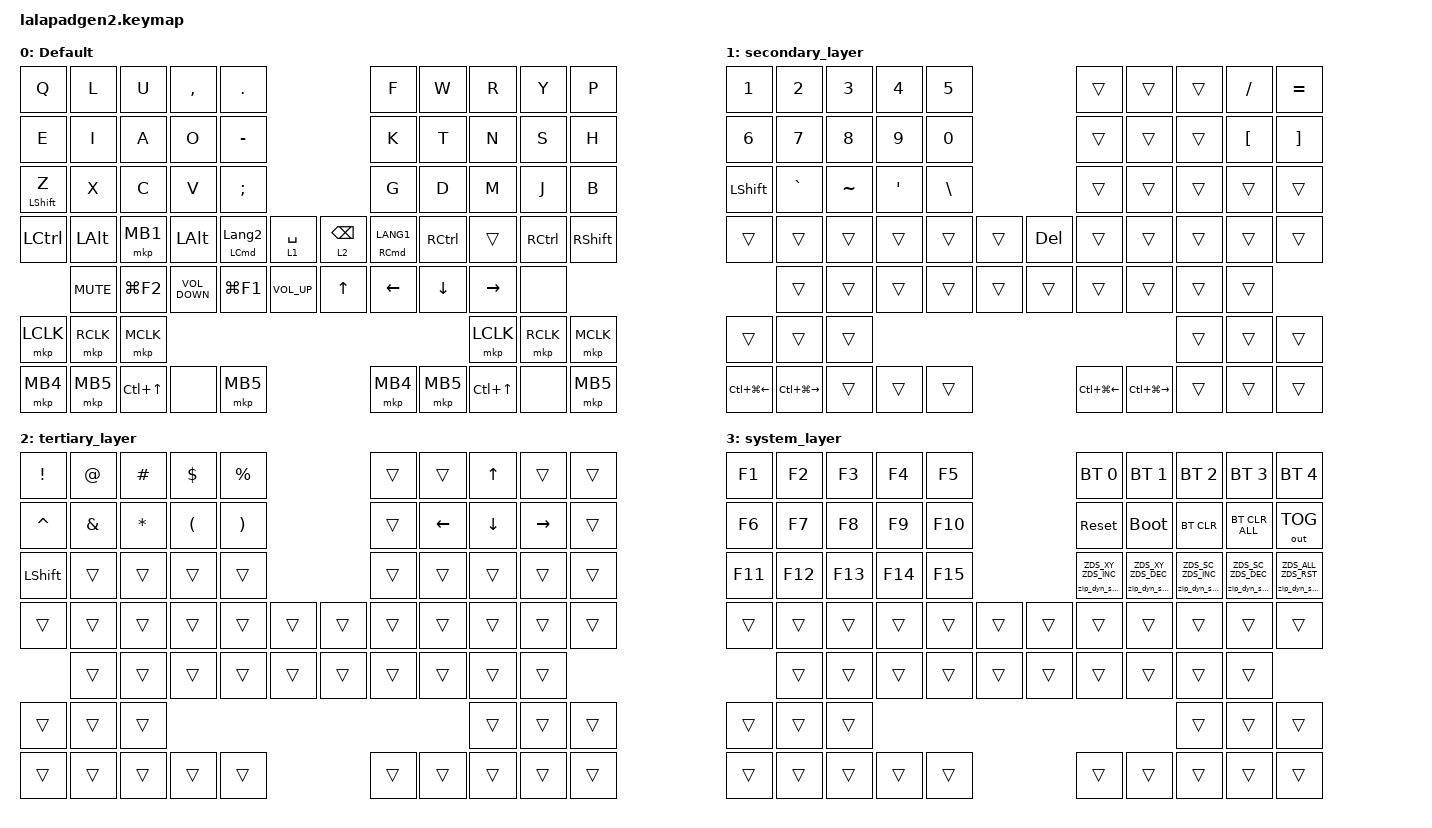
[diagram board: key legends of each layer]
#include <input/processors.dtsi>
#include <dt-bindings/zmk/zip_dynamic_scale.h>
#include <behaviors.dtsi>
#include <dt-bindings/zmk/bt.h>
#include <dt-bindings/zmk/keys.h>
#include <dt-bindings/zmk/outputs.h>
#include <dt-bindings/zmk/pointing.h>

#define DEFAULT_LAYER   0
#define SECONDARY_LAYER 1
#define TERTIARY_LAYER  2
#define SYSTEM_LAYER    3

&mt { quick-tap-ms = <200>; };

&lt { quick-tap-ms = <200>; };

/ {
    behaviors {
        zip_dyn_scale: zip_dyn_scale {
            compatible = "zmk,behavior-zip-dynamic-scale";
            #binding-cells = <2>;
        };

        zip_dyn_scale_set: zip_dyn_scale_set {
            compatible = "zmk,behavior-zip-dynamic-scale-set";
            #binding-cells = <2>;
        };

        mt2: mod_tap2 {
            compatible = "zmk,behavior-hold-tap";
            #binding-cells = <2>;
            flavor = "tap-preferred";
            tapping-term-ms = <200>;
            quick-tap-ms = <200>;
            require-prior-idle-ms = <125>;
            bindings = <&kp>, <&kp>;
        };

        tap_dance_layer_1and2: tap_dance_layer_1and2 {
            compatible = "zmk,behavior-tap-dance";
            label = "td_mo12";
            #binding-cells = <0>;
            bindings = <&mo 1>, <&mo 2>;
        };
    };

    combos {
        compatible = "zmk,combos";

        CONBO_ESC {
            bindings = <&kp ESCAPE>;
            key-positions = <0 1>;
        };

        COMBO_TAB {
            bindings = <&kp TAB>;
            key-positions = <10 11>;
        };

        COMBO_ENTER {
            bindings = <&kp ENTER>;
            key-positions = <36 37>;
        };
    };

    keymap {
        compatible = "zmk,keymap";

        DEFAULT_LAYER {
            display-name = "Default";
            bindings = <
&kp Q             &kp L         &kp U             &kp COMMA          &kp PERIOD                                                     &kp F                    &kp W              &kp R             &kp Y      &kp P
&kp E             &kp I         &kp A             &kp O              &kp MINUS                                                      &kp K                    &kp T              &kp N             &kp S      &kp H
&mt LEFT_SHIFT Z  &kp X         &kp C             &kp V              &kp SEMICOLON                                                  &kp G                    &kp D              &kp M             &kp J      &kp B
&kp LCTRL         &kp LEFT_ALT  &mkp MB1          &kp LEFT_ALT       &mt LEFT_COMMAND LANGUAGE_2  &lt 1 SPACE      &lt 2 BACKSPACE  &mt RIGHT_COMMAND LANG1  &kp RIGHT_CONTROL  &trans            &kp RCTRL  &kp RIGHT_SHIFT
                  &kp K_MUTE    &kp LG(F2)        &kp C_VOLUME_DOWN  &kp LG(F1)                   &kp C_VOLUME_UP  &kp UP           &kp LEFT                 &kp DOWN           &kp RIGHT         &none
&mkp LCLK         &mkp RCLK     &mkp MCLK                                                                                                                                       &mkp LCLK         &mkp RCLK  &mkp MCLK
&mkp MB4          &mkp MB5      &kp LC(UP_ARROW)  &none              &mkp MB5                                                       &mkp MB4                 &mkp MB5           &kp LC(UP_ARROW)  &none      &mkp MB5
            >;
        };

        SECONDARY_LAYER {
            display-name = "secondary_layer";
            bindings = <
&kp NUMBER_1      &kp NUMBER_2       &kp NUMBER_3  &kp NUMBER_4  &kp NUMBER_5                    &trans            &trans             &trans  &kp SLASH         &kp EQUAL
&kp NUMBER_6      &kp NUMBER_7       &kp NUMBER_8  &kp NUMBER_9  &kp NUMBER_0                    &trans            &trans             &trans  &kp LEFT_BRACKET  &kp RIGHT_BRACKET
&kp LEFT_SHIFT    &kp GRAVE          &kp TILDE     &kp SQT       &kp BACKSLASH                   &trans            &trans             &trans  &trans            &trans
&trans            &trans             &trans        &trans        &trans         &trans  &kp DEL  &trans            &trans             &trans  &trans            &trans
                  &trans             &trans        &trans        &trans         &trans  &trans   &trans            &trans             &trans  &trans
&trans            &trans             &trans                                                                                           &trans  &trans            &trans
&kp LC(LG(LEFT))  &kp LC(LG(RIGHT))  &trans        &trans        &trans                          &kp LC(LG(LEFT))  &kp LC(LG(RIGHT))  &trans  &trans            &trans
            >;
        };

        TERTIARY_LAYER {
            display-name = "tertiary_layer";
            bindings = <
&kp EXCLAMATION  &kp AT_SIGN    &kp HASH      &kp DOLLAR            &kp PERCENT                            &trans  &trans    &kp UP_ARROW    &trans     &trans
&kp CARET        &kp AMPERSAND  &kp ASTERISK  &kp LEFT_PARENTHESIS  &kp RIGHT_PARENTHESIS                  &trans  &kp LEFT  &kp DOWN_ARROW  &kp RIGHT  &trans
&kp LEFT_SHIFT   &trans         &trans        &trans                &trans                                 &trans  &trans    &trans          &trans     &trans
&trans           &trans         &trans        &trans                &trans                 &trans  &trans  &trans  &trans    &trans          &trans     &trans
                 &trans         &trans        &trans                &trans                 &trans  &trans  &trans  &trans    &trans          &trans
&trans           &trans         &trans                                                                                       &trans          &trans     &trans
&trans           &trans         &trans        &trans                &trans                                 &trans  &trans    &trans          &trans     &trans
            >;
        };

        SYSTEM_LAYER {
            display-name = "system_layer";
            bindings = <
&kp F1   &kp F2   &kp F3   &kp F4   &kp F5                   &bt BT_SEL 0                   &bt BT_SEL 1                   &bt BT_SEL 2                   &bt BT_SEL 3                   &bt BT_SEL 4
&kp F6   &kp F7   &kp F8   &kp F9   &kp F10                  &sys_reset                     &bootloader                    &bt BT_CLR                     &bt BT_CLR_ALL                 &out OUT_TOG
&kp F11  &kp F12  &kp F13  &kp F14  &kp F15                  &zip_dyn_scale ZDS_XY ZDS_INC  &zip_dyn_scale ZDS_XY ZDS_DEC  &zip_dyn_scale ZDS_SC ZDS_INC  &zip_dyn_scale ZDS_SC ZDS_DEC  &zip_dyn_scale ZDS_ALL ZDS_RST
&trans   &trans   &trans   &trans   &trans   &trans  &trans  &trans                         &trans                         &trans                         &trans                         &trans
         &trans   &trans   &trans   &trans   &trans  &trans  &trans                         &trans                         &trans                         &trans
&trans   &trans   &trans                                                                                                   &trans                         &trans                         &trans
&trans   &trans   &trans   &trans   &trans                   &trans                         &trans                         &trans                         &trans                         &trans
            >;
        };
    };

    conditional_layers {
        compatible = "zmk,conditional-layers";

        Cond_Syslayer {
            if-layers = <1 2>;
            then-layer = <3>;
        };
    };
};
